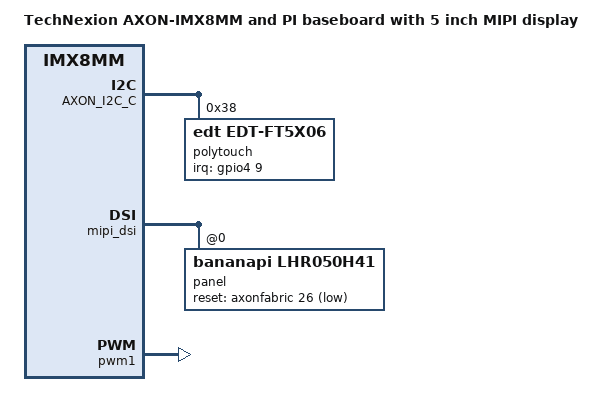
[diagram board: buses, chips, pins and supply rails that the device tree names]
/*
 * Copyright 2019 Technexion Ltd.
 * Copyright 2018 NXP
 *
 * Author: Richard Hu <richard.hu@technexion.com>
 *         John Weber <john.weber@technexion.com>
 *
 * This program is free software; you can redistribute it and/or
 * modify it under the terms of the GNU General Public License
 * as published by the Free Software Foundation; either version 2
 * of the License, or (at your option) any later version.
 *
 * This program is distributed in the hope that it will be useful,
 * but WITHOUT ANY WARRANTY; without even the implied warranty of
 * MERCHANTABILITY or FITNESS FOR A PARTICULAR PURPOSE.  See the
 * GNU General Public License for more details.
 */

/dts-v1/;

#include "imx8mm-axon-pi.dts"

/ {
	model = "TechNexion AXON-IMX8MM and PI baseboard with 5 inch MIPI display";
};

&AXON_I2C_C {  // I2C_C
	status = "okay";

	polytouch: edt-ft5x06@38 {
		compatible = "edt,edt-ft5x06";
		reg = <0x38>;
		pinctrl-names = "default";
		interrupt-parent = <&gpio4>;
		interrupts = <9 IRQ_TYPE_EDGE_FALLING>;
		touchscreen-size-x = <720>;
		touchscreen-size-y = <1280>;
		status="okay";
	};
};

&mipi_dsi {
	status = "okay";
	panel@0 {
		compatible = "bananapi,lhr050h41", "ilitek,ili9881c";
		reset-gpio = <&axonfabric 26 GPIO_ACTIVE_LOW>;
		reg = <0>;
		timing-mode = <0>;
		video-mode = <2>;	/* 0: burst mode
					 * 1: non-burst mode with sync event
					 * 2: non-burst mode with sync pulse
					 */
		status = "okay";
	};
};

&pwm1 {
	pinctrl-names = "default";
	pinctrl-0 = <&pinctrl_dsi_pwm>;
	status = "okay";
};
